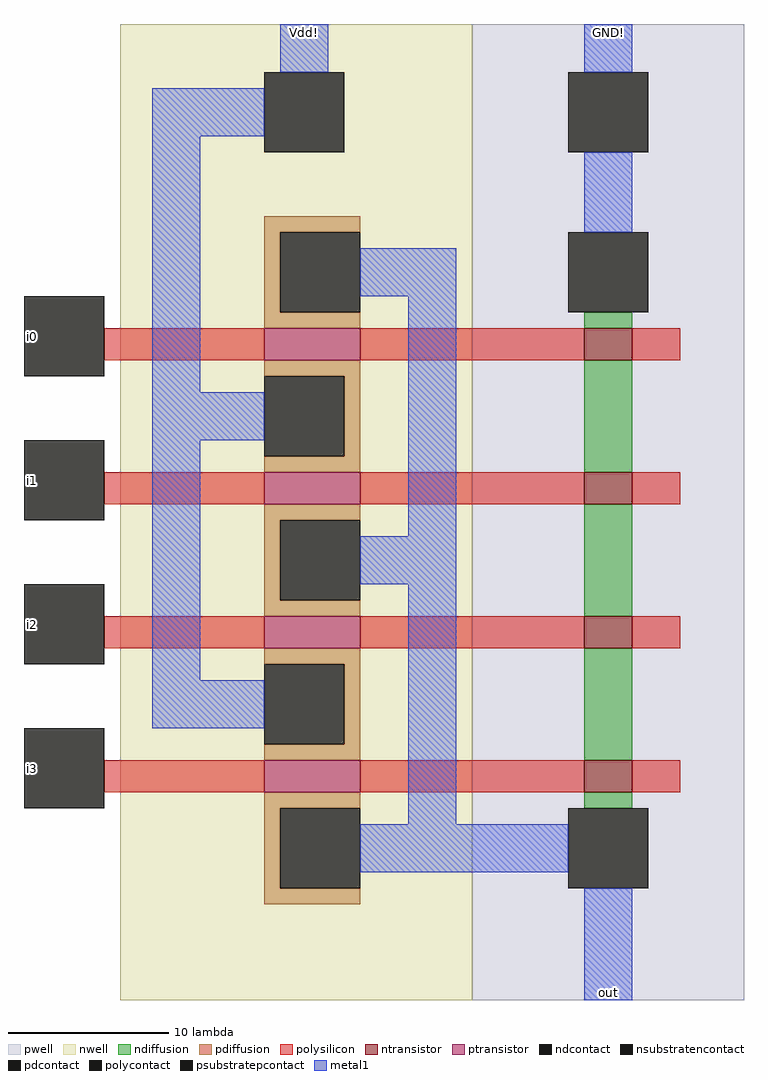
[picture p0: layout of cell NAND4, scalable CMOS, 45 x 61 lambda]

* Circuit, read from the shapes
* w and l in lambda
.subckt NAND4 GND! Vdd! i0 i1 i2 i3 out
M1 n1 i3 out GND! nfet w=3 l=2
M2 n2 i2 n1 GND! nfet w=3 l=2
M3 n3 i1 n2 GND! nfet w=3 l=2
M4 GND! i0 n3 GND! nfet w=3 l=2
M5 Vdd! i3 out Vdd! pfet w=6 l=2
M6 out i2 Vdd! Vdd! pfet w=6 l=2
M7 Vdd! i1 out Vdd! pfet w=6 l=2
M8 out i0 Vdd! Vdd! pfet w=6 l=2
.ends

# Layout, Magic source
magic
tech scmos
<< nwell >>
rect -3 -87 19 -26
<< pwell >>
rect 19 -87 36 -26
<< ntransistor >>
rect 26 -47 29 -45
rect 26 -56 29 -54
rect 26 -65 29 -63
rect 26 -74 29 -72
<< ptransistor >>
rect 6 -47 12 -45
rect 6 -56 12 -54
rect 6 -65 12 -63
rect 6 -74 12 -72
<< ndiffusion >>
rect 26 -45 29 -44
rect 26 -54 29 -47
rect 26 -63 29 -56
rect 26 -72 29 -65
rect 26 -75 29 -74
<< pdiffusion >>
rect 6 -39 12 -38
rect 6 -44 7 -39
rect 6 -45 12 -44
rect 6 -48 12 -47
rect 11 -53 12 -48
rect 6 -54 12 -53
rect 6 -57 12 -56
rect 6 -62 7 -57
rect 6 -63 12 -62
rect 6 -66 12 -65
rect 11 -71 12 -66
rect 6 -72 12 -71
rect 6 -75 12 -74
rect 6 -80 7 -75
rect 6 -81 12 -80
<< ndcontact >>
rect 25 -44 30 -39
rect 25 -80 30 -75
<< pdcontact >>
rect 7 -44 12 -39
rect 6 -53 11 -48
rect 7 -62 12 -57
rect 6 -71 11 -66
rect 7 -80 12 -75
<< psubstratepcontact >>
rect 25 -34 30 -29
<< nsubstratencontact >>
rect 6 -34 11 -29
<< polysilicon >>
rect -4 -47 6 -45
rect 12 -47 26 -45
rect 29 -47 32 -45
rect -4 -56 6 -54
rect 12 -56 26 -54
rect 29 -56 32 -54
rect -4 -65 6 -63
rect 12 -65 26 -63
rect 29 -65 32 -63
rect -4 -74 6 -72
rect 12 -74 26 -72
rect 29 -74 32 -72
<< polycontact >>
rect -9 -48 -4 -43
rect -9 -57 -4 -52
rect -9 -66 -4 -61
rect -9 -75 -4 -70
<< metal1 >>
rect 7 -29 10 -26
rect 26 -29 29 -26
rect -1 -33 6 -30
rect -1 -49 2 -33
rect 26 -39 29 -34
rect 12 -43 18 -40
rect -1 -52 6 -49
rect -1 -67 2 -52
rect 15 -58 18 -43
rect 12 -61 18 -58
rect -1 -70 6 -67
rect 15 -76 18 -61
rect 12 -79 25 -76
rect 26 -87 29 -80
<< labels >>
rlabel polycontact -9 -46 -8 -45 1 i0
rlabel polycontact -9 -55 -8 -54 1 i1
rlabel polycontact -9 -64 -8 -63 1 i2
rlabel polycontact -9 -73 -8 -72 1 i3
rlabel metal1 27 -87 28 -86 1 out
rlabel metal1 8 -27 9 -26 1 Vdd!
rlabel metal1 27 -27 28 -26 1 GND!
<< end >>
